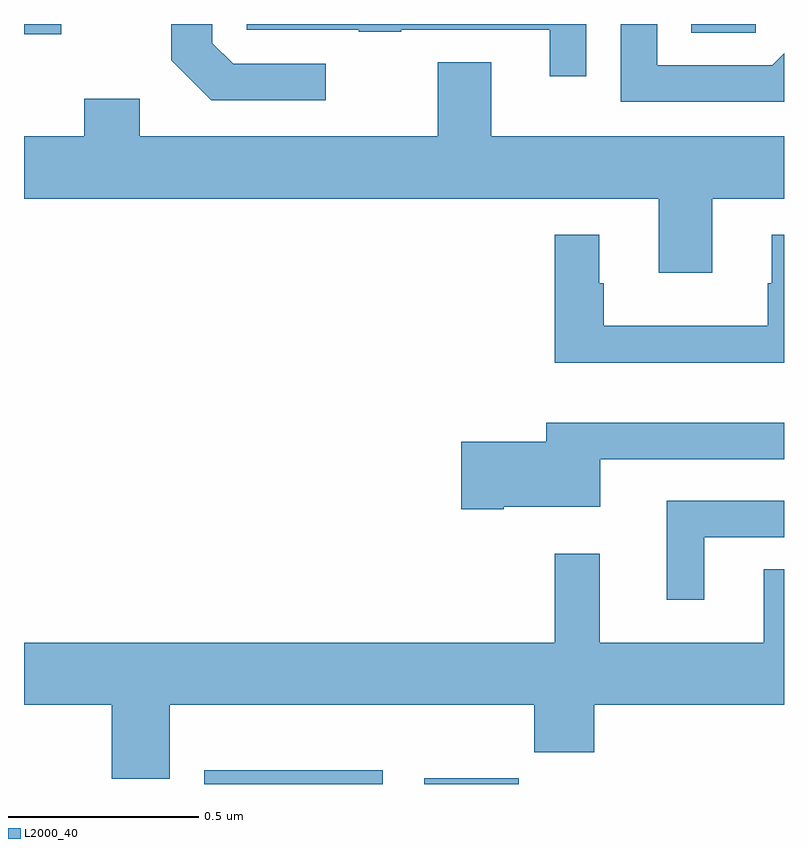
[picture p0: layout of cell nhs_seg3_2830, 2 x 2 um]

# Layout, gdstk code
import gdstk
lib = gdstk.Library(unit=1e-6, precision=1e-09)
def R(c, l, rs):  # rectangles x0, y0, x1, y1
    for r in rs: c.add(gdstk.rectangle(r[:2], r[2:], *l))
def P(c, l, *ps):  # polygons
    for p in ps: c.add(gdstk.Polygon(p, *l))
L2000_40 = (2000, 40)

nhs_seg3_2830 = lib.new_cell('nhs_seg3_2830')
R(nhs_seg3_2830, L2000_40, [(146.474,675.4,146.944,675.436), (147.053,675.4,147.302,675.415), (146,677.373,146.098,677.4), (147.756,677.377,147.925,677.4)])
P(nhs_seg3_2830, L2000_40, [(148,677.323),(147.969,677.292),(147.666,677.292),(147.666,677.4),(147.57,677.4),(147.57,677.196),(148,677.196)],
  [(146.794,677.295),(146.55,677.295),(146.496,677.349),(146.496,677.4),(146.388,677.4),(146.388,677.305),(146.493,677.199),(146.794,677.199)],
  [(147.479,677.4),(146.586,677.4),(146.586,677.385),(146.881,677.385),(146.881,677.38),(146.993,677.38),(146.993,677.385),(147.383,677.385),(147.383,677.262),(147.479,677.262)],
  [(147.811,676.94),(148,676.94),(148,677.104),(147.229,677.104),(147.229,677.299),(147.089,677.299),(147.089,677.104),(146.305,677.104),(146.305,677.203),(146.158,677.203),(146.158,677.104),(146,677.104),(146,676.94),(147.671,676.94),(147.671,676.746),(147.811,676.746)],
  [(148,676.846),(147.968,676.846),(147.968,676.718),(147.957,676.718),(147.957,676.606),(147.526,676.606),(147.526,676.718),(147.514,676.718),(147.514,676.846),(147.397,676.846),(147.397,676.508),(148,676.508)],
  [(147.262,676.13),(147.517,676.13),(147.517,676.254),(148,676.254),(148,676.351),(147.374,676.351),(147.374,676.301),(147.15,676.301),(147.15,676.123),(147.262,676.123)],
  [(147.79,676.05),(148,676.05),(148,676.146),(147.692,676.146),(147.692,675.885),(147.79,675.885)],
  [(146.383,675.608),(147.343,675.608),(147.343,675.484),(147.5,675.484),(147.5,675.608),(148,675.608),(148,675.965),(147.947,675.965),(147.947,675.772),(147.515,675.772),(147.515,676.006),(147.397,676.006),(147.397,675.772),(146,675.772),(146,675.608),(146.231,675.608),(146.231,675.414),(146.383,675.414)])

lib.write_gds('nhs_seg3_2830.gds')
